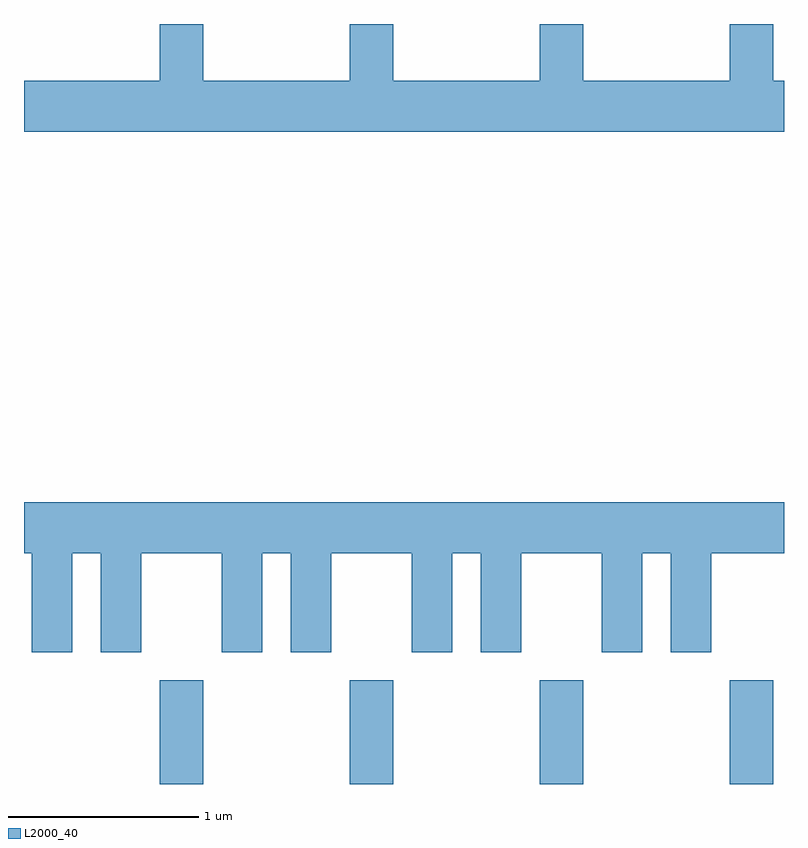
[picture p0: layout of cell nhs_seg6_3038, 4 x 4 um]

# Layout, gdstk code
import gdstk
lib = gdstk.Library(unit=1e-6, precision=1e-09)
def R(c, l, rs):  # rectangles x0, y0, x1, y1
    for r in rs: c.add(gdstk.rectangle(r[:2], r[2:], *l))
def A(c, l, x, y, w, h, nx, ny, dx, dy):  # array of equal rectangles
    R(c, l, [(x+i*dx, y+j*dy, x+i*dx+w, y+j*dy+h) for i in range(nx) for j in range(ny)])
def P(c, l, *ps):  # polygons
    for p in ps: c.add(gdstk.Polygon(p, *l))
L2000_40 = (2000, 40)

nhs_seg6_3038 = lib.new_cell('nhs_seg6_3038')
A(nhs_seg6_3038, L2000_40, 278.326, 1542.162, 0.228, 0.547, 4, 1, 1, 0)
P(nhs_seg6_3038, L2000_40, [(281.611,1545.864),(281.554,1545.864),(281.554,1546.162),(281.326,1546.162),(281.326,1545.864),(280.554,1545.864),(280.554,1546.162),(280.326,1546.162),(280.326,1545.864),(279.554,1545.864),(279.554,1546.162),(279.326,1546.162),(279.326,1545.864),(278.554,1545.864),(278.554,1546.162),(278.326,1546.162),(278.326,1545.864),(277.611,1545.864),(277.611,1545.596),(281.611,1545.596)],
  [(277.864,1543.376),(278.016,1543.376),(278.016,1542.856),(278.229,1542.856),(278.229,1543.376),(278.651,1543.376),(278.651,1542.856),(278.864,1542.856),(278.864,1543.376),(279.016,1543.376),(279.016,1542.856),(279.229,1542.856),(279.229,1543.376),(279.651,1543.376),(279.651,1542.856),(279.864,1542.856),(279.864,1543.376),(280.016,1543.376),(280.016,1542.856),(280.229,1542.856),(280.229,1543.376),(280.651,1543.376),(280.651,1542.856),(280.864,1542.856),(280.864,1543.376),(281.016,1543.376),(281.016,1542.856),(281.229,1542.856),(281.229,1543.376),(281.611,1543.376),(281.611,1543.644),(277.611,1543.644),(277.611,1543.376),(277.651,1543.376),(277.651,1542.856),(277.864,1542.856)])

lib.write_gds('nhs_seg6_3038.gds')
